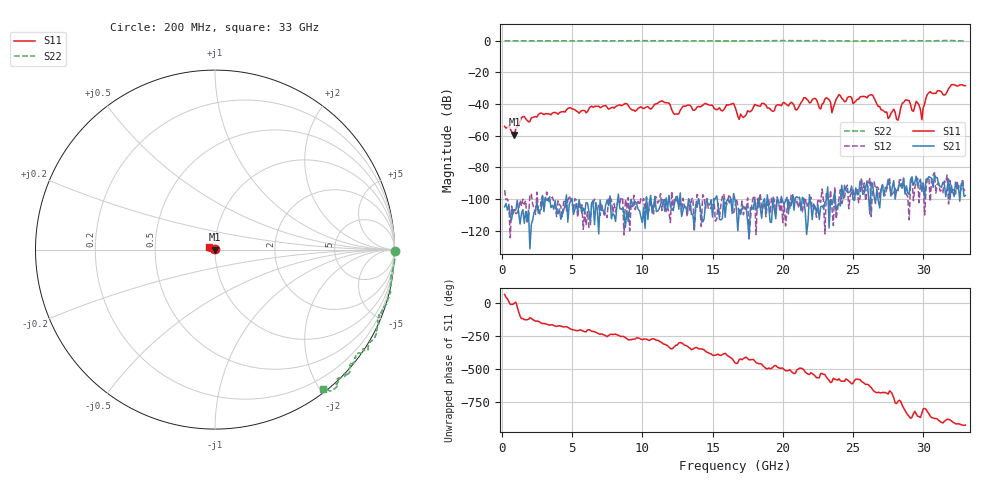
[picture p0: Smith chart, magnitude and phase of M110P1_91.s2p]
# GHZ S RI R 50
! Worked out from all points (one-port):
!   329 points, 200 MHz to 33 GHz, reference 50 ohm
!   lowest |S11| = -59.4 dB at 900 MHz (marker M1), VSWR 1.00, Z = 50.1 + j0.00428 ohm
!   |S11| at or under -10 dB: start of sweep to end of sweep
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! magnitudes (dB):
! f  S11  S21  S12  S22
! 200 MHz  -54.1  -105.0  -94.4  0.0
! 900 MHz  -59.4  -107.5  -106.7  0.0
! 1.5 GHz  -48.0  -106.7  -100.1  0.0
! 5.7 GHz  -44.1  -108.9  -103.6  -0.1
! 11.2 GHz  -38.7  -106.2  -101.0  0.0
! 12.3 GHz  -46.5  -102.5  -99.1  0.0
! 16.6 GHz  -41.7  -100.3  -105.1  -0.1
! 16.9 GHz  -49.7  -106.5  -110.0  -0.1
! 18 GHz  -40.3  -100.1  -97.9  0.0
! 22.1 GHz  -37.1  -113.0  -105.8  0.1
! 22.7 GHz  -43.1  -104.9  -102.0  0.1
! 23.2 GHz  -36.5  -92.4  -95.9  0.0
! 23.5 GHz  -45.5  -103.6  -106.0  0.0
! 24 GHz  -34.0  -102.6  -99.9  0.0
! 26.4 GHz  -34.3  -91.4  -89.2  -0.1
! 27.6 GHz  -48.0  -90.6  -86.5  -0.1
! 28.2 GHz  -50.2  -94.2  -95.6  0.0
! 28.8 GHz  -37.3  -91.7  -97.1  0.1
! 29.6 GHz  -39.3  -91.5  -86.8  0.1
! 29.9 GHz  -49.9  -95.2  -89.9  0.0
! 30.4 GHz  -32.8  -85.9  -86.8  -0.1
! 33 GHz  -28.4  -97.8  -94.4  -0.2
